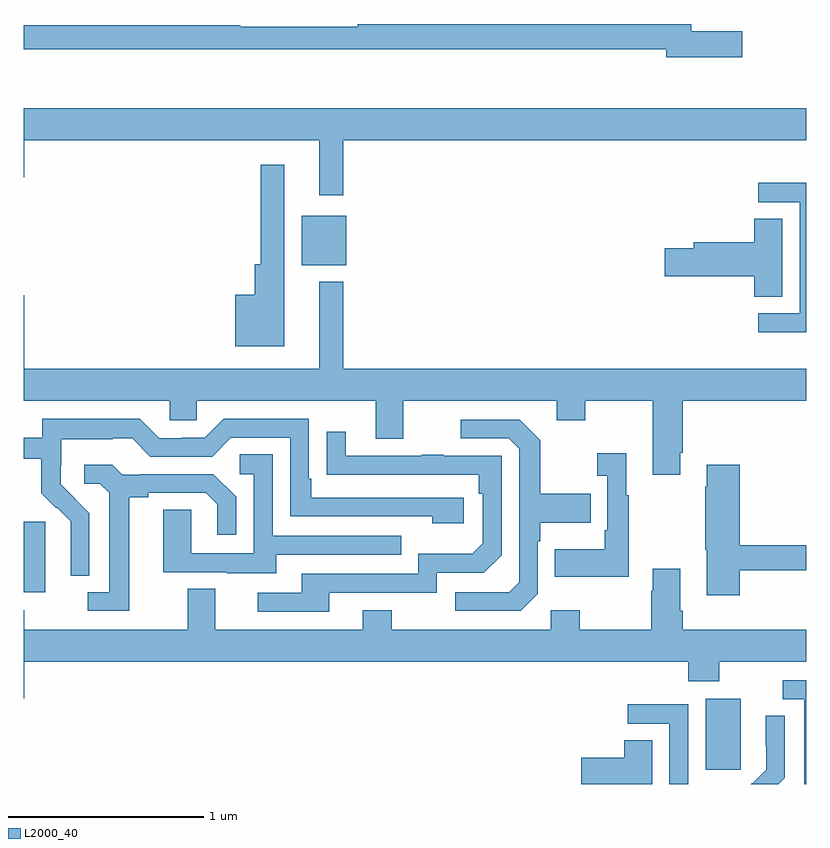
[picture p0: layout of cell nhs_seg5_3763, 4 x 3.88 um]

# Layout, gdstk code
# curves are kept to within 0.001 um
import gdstk
lib = gdstk.Library(unit=1e-6, precision=1e-09)
def R(c, l, rs):  # rectangles x0, y0, x1, y1
    for r in rs: c.add(gdstk.rectangle(r[:2], r[2:], *l))
def P(c, l, *ps):  # polygons
    for p in ps: c.add(gdstk.Polygon(p, *l))
L2000_40 = (2000, 40)

nhs_seg5_3763 = lib.new_cell('nhs_seg5_3763')
R(nhs_seg5_3763, L2000_40, [(336.485,858.873,336.664,859.234), (333,859.778,333.112,860.139), (334.421,861.449,334.648,861.703)])
P(nhs_seg5_3763, L2000_40, [(336.673,862.646),(336.412,862.646),(336.412,862.682),(334.708,862.682),(334.708,862.667),(334.108,862.667),(334.108,862.675),(333,862.675),(333,862.554),(336.284,862.554),(336.284,862.511),(336.673,862.511)],
  [(334.633,862.088),(337,862.088),(337,862.252),(333,862.252),(333,861.9),(333.004,861.9),(333.004,862.088),(334.511,862.088),(334.511,861.807),(334.633,861.807)],
  [(334.333,861.964),(334.212,861.964),(334.212,861.454),(334.181,861.454),(334.181,861.298),(334.082,861.298),(334.082,861.035),(334.333,861.035)],
  [(337,861.87),(336.753,861.87),(336.753,861.771),(336.966,861.771),(336.966,861.204),(336.753,861.204),(336.753,861.108),(337,861.108)],
  [(336.877,861.686),(336.734,861.686),(336.734,861.566),(336.425,861.566),(336.425,861.536),(336.276,861.536),(336.276,861.394),(336.734,861.394),(336.734,861.289),(336.877,861.289)],
  [(336.355,860.491),(336.368,860.491),(336.368,860.756),(337,860.756),(337,860.92),(334.633,860.92),(334.633,861.364),(334.511,861.364),(334.511,860.92),(333.004,860.92),(333.004,861.295),(333,861.295),(333,860.756),(333.747,860.756),(333.747,860.658),(333.885,860.658),(333.885,860.756),(334.799,860.756),(334.799,860.562),(334.939,860.562),(334.939,860.756),(335.723,860.756),(335.723,860.657),(335.871,860.657),(335.871,860.756),(336.215,860.756),(336.215,860.379),(336.355,860.379)],
  [(333.336,860.182),(333.19,860.33),(333.19,860.427),(333.192,860.427),(333.192,860.561),(333.455,860.561),(333.455,860.565),(333.555,860.565),(333.648,860.472),(333.963,860.472),(334.059,860.568),(334.362,860.568),(334.362,860.166),(335.087,860.166),(335.087,860.132),(335.248,860.132),(335.248,860.262),(334.471,860.262),(334.471,860.359),(334.458,860.359),(334.458,860.664),(334.023,860.664),(333.927,860.568),(333.809,860.568),(333.809,860.565),(333.693,860.565),(333.593,860.665),(333.096,860.665),(333.096,860.568),(333,860.568),(333,860.46),(333.091,860.46),(333.091,860.285),(333.168,860.208),(333.171,860.211),(333.242,860.141),(333.242,860.018),(333.24,860.018),(333.24,859.864),(333.336,859.864)],
  [(335.628,859.77),(335.628,860.039),(335.641,860.039),(335.641,860.135),(335.897,860.135),(335.897,860.283),(335.641,860.283),(335.641,860.555),(335.535,860.661),(335.235,860.661),(335.235,860.565),(335.478,860.565),(335.532,860.511),(335.532,859.83),(335.481,859.779),(335.205,859.779),(335.205,859.683),(335.541,859.683)],
  [(334.561,859.776),(335.112,859.776),(335.112,859.878),(335.352,859.878),(335.442,859.968),(335.442,860.475),(335.147,860.475),(335.147,860.48),(335.035,860.48),(335.035,860.475),(334.645,860.475),(334.645,860.599),(334.549,860.599),(334.549,860.38),(335.326,860.379),(335.326,860.282),(335.346,860.282),(335.346,860.028),(335.293,859.975),(335.016,859.975),(335.016,859.872),(334.421,859.872),(334.421,859.776),(334.197,859.776),(334.197,859.68),(334.561,859.68)],
  [(336.091,860.275),(336.079,860.275),(336.079,860.488),(335.931,860.488),(335.931,860.375),(335.982,860.375),(335.982,860.095),(335.97,860.095),(335.97,859.999),(335.713,859.999),(335.713,859.859),(336.091,859.859)],
  [(334.291,859.971),(334.931,859.971),(334.931,860.067),(334.272,860.067),(334.272,860.483),(334.104,860.483),(334.104,860.382),(334.176,860.382),(334.176,859.977),(333.858,859.977),(333.858,860.201),(333.713,860.201),(333.713,859.881),(334.037,859.881),(334.037,859.877),(334.291,859.877)],
  [(333.541,860.264),(333.637,860.264),(333.637,860.286),(333.932,860.286),(333.989,860.229),(333.989,860.073),(334.086,860.073),(334.086,860.266),(333.97,860.382),(333.598,860.382),(333.598,860.379),(333.504,860.379),(333.452,860.431),(333.309,860.431),(333.309,860.334),(333.39,860.334),(333.437,860.287),(333.437,859.779),(333.327,859.779),(333.327,859.683),(333.541,859.683)],
  [(336.659,859.89),(337,859.89),(337,860.018),(336.659,860.018),(336.659,860.431),(336.491,860.431),(336.491,860.318),(336.484,860.318),(336.484,859.995),(336.491,859.995),(336.491,859.764),(336.659,859.764)],
  [(333.004,859.424),(336.395,859.424),(336.395,859.325),(336.555,859.325),(336.555,859.424),(337,859.424),(337,859.588),(336.368,859.588),(336.368,859.684),(336.355,859.684),(336.355,859.9),(336.215,859.9),(336.215,859.787),(336.208,859.787),(336.208,859.588),(335.841,859.588),(335.841,859.687),(335.694,859.687),(335.694,859.588),(334.881,859.588),(334.881,859.687),(334.733,859.687),(334.733,859.588),(333.979,859.588),(333.979,859.796),(333.839,859.796),(333.839,859.588),(333.003,859.588),(333.003,859.687),(333,859.687),(333,859.236),(333.004,859.236)],
  [(337,859.329),(336.879,859.329),(336.879,859.233),(336.989,859.233),(336.989,858.799),(337,858.799)],
  [(336.396,859.206),(336.087,859.206),(336.087,859.107),(336.3,859.107),(336.3,858.799),(336.396,858.799)],
  [(336.888,858.83),(336.888,859.148),(336.792,859.148),(336.792,858.994),(336.794,858.994),(336.794,858.872),(336.723,858.801),(336.72,858.804),(336.715,858.799),(336.857,858.799)],
  [(336.211,859.022),(336.068,859.022),(336.068,858.932),(335.85,858.932),(335.85,858.799),(336.211,858.799)])

lib.write_gds('nhs_seg5_3763.gds')
